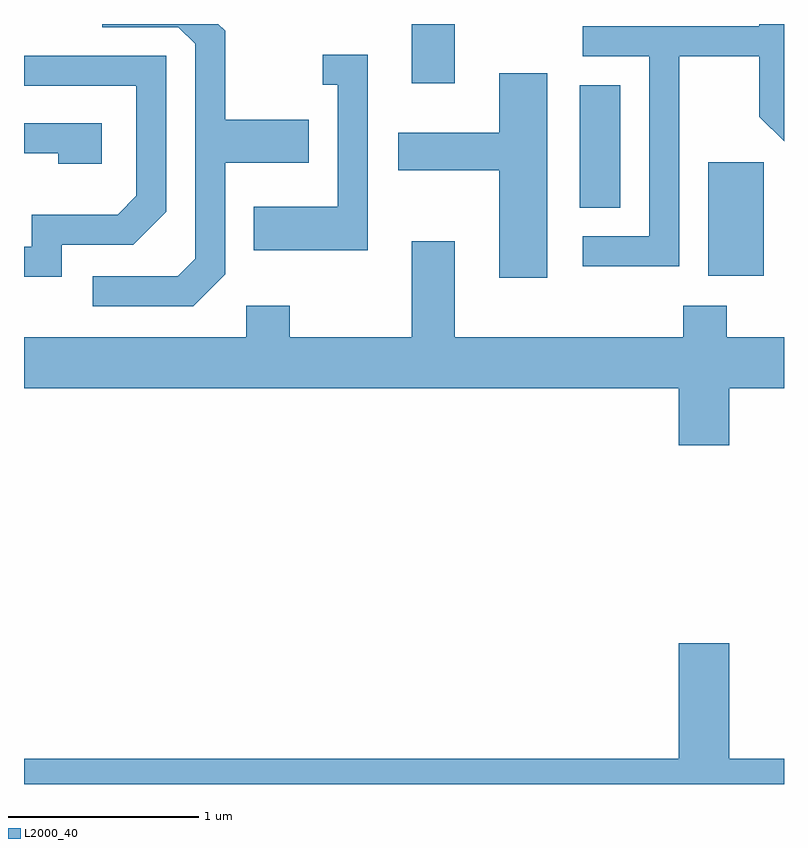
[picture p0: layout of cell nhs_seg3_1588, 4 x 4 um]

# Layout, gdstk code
import gdstk
lib = gdstk.Library(unit=1e-6, precision=1e-09)
def R(c, l, rs):  # rectangles x0, y0, x1, y1
    for r in rs: c.add(gdstk.rectangle(r[:2], r[2:], *l))
def P(c, l, *ps):  # polygons
    for p in ps: c.add(gdstk.Polygon(p, *l))
L2000_40 = (2000, 40)

nhs_seg3_1588 = lib.new_cell('nhs_seg3_1588')
R(nhs_seg3_1588, L2000_40, [(235.211,1166.566,235.504,1167.164), (234.536,1166.926,234.749,1167.569), (233.651,1167.581,233.879,1167.892)])
P(nhs_seg3_1588, L2000_40, [(232.669,1166.574),(232.669,1167.161),(233.109,1167.161),(233.109,1167.389),(232.669,1167.389),(232.669,1167.857),(232.634,1167.892),(232.023,1167.892),(232.023,1167.876),(232.424,1167.876),(232.511,1167.789),(232.511,1166.657),(232.419,1166.564),(231.973,1166.564),(231.973,1166.406),(232.502,1166.406)],
  [(235.059,1167.721),(235.481,1167.721),(235.481,1167.404),(235.611,1167.274),(235.611,1167.892),(235.481,1167.892),(235.481,1167.879),(234.553,1167.879),(234.553,1167.721),(234.901,1167.721),(234.901,1166.774),(234.553,1166.774),(234.553,1166.616),(235.059,1166.616)],
  [(233.419,1167.729),(233.183,1167.729),(233.183,1167.571),(233.261,1167.571),(233.261,1166.929),(232.821,1166.929),(232.821,1166.701),(233.419,1166.701)],
  [(231.809,1166.731),(232.187,1166.731),(232.359,1166.904),(232.359,1167.724),(231.611,1167.724),(231.611,1167.566),(232.201,1167.566),(232.201,1166.987),(232.104,1166.889),(231.651,1166.889),(231.651,1166.719),(231.611,1166.719),(231.611,1166.561),(231.809,1166.561)],
  [(234.364,1167.634),(234.111,1167.634),(234.111,1167.319),(233.581,1167.319),(233.581,1167.121),(234.111,1167.121),(234.111,1166.556),(234.364,1166.556)],
  [(232.019,1167.369),(231.611,1167.369),(231.611,1167.211),(231.791,1167.211),(231.791,1167.156),(232.019,1167.156)],
  [(235.324,1165.976),(235.611,1165.976),(235.611,1166.244),(235.309,1166.244),(235.309,1166.409),(235.081,1166.409),(235.081,1166.244),(233.879,1166.244),(233.879,1166.749),(233.651,1166.749),(233.651,1166.244),(233.009,1166.244),(233.009,1166.409),(232.781,1166.409),(232.781,1166.244),(231.611,1166.244),(231.611,1165.976),(235.056,1165.976),(235.056,1165.676),(235.324,1165.676)],
  [(235.611,1164.024),(235.324,1164.024),(235.324,1164.634),(235.056,1164.634),(235.056,1164.024),(231.611,1164.024),(231.611,1163.892),(235.611,1163.892)])

lib.write_gds('nhs_seg3_1588.gds')
